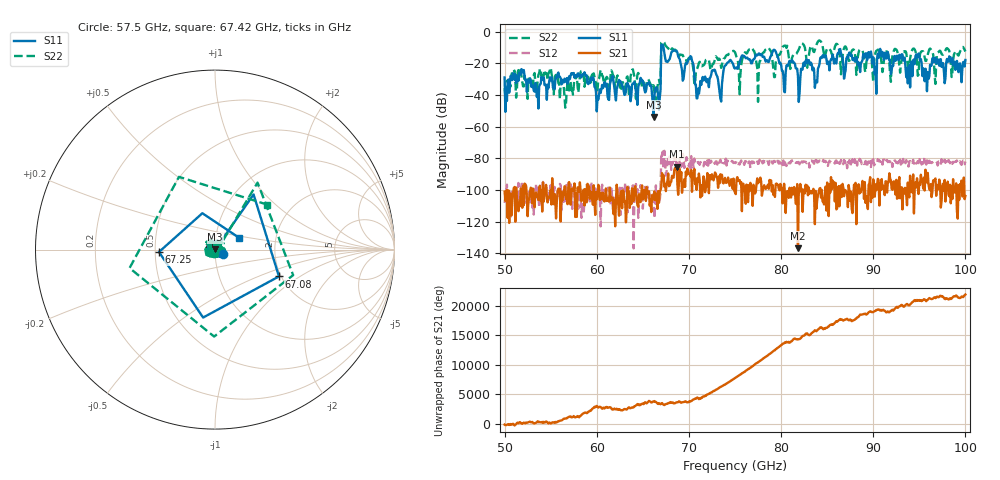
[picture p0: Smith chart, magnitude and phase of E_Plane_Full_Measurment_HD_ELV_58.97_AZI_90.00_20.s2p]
! 11/26/2026 3:24:49 PM
! C:\ANRITSUVNA\TEMP\TEMP.S2P
! CHANNEL.1
! TR.MEASUREMENT
! RAW.DATA
# HZ S RI R 50.0
! FREQ.HZ  S11RE  S11IM  S21RE  S21IM  S12RE  S12IM  S22RE  S22IM
!; PortSelection: Port_12
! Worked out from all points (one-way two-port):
!   601 points, 50 GHz to 100 GHz, reference 50 ohm
!   highest |S21| = -85.30 dB at 68.67 GHz (marker M1); lowest = -137.0 dB at 81.83 GHz (marker M2)
!   lowest |S11| = -53.9 dB at 66.17 GHz (marker M3), VSWR 1.00, Z = 50.1 + j0.145 ohm
!   |S11| at or under -10 dB: start of sweep to 67 GHz; 67.25 GHz to end of sweep
!   |S22| runs from -48.1 to -5.6 dB; largest |S21 - S12| = 0.00018
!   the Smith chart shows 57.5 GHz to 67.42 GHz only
!   S11 on the Smith chart (normalised r, x): 57.5 GHz: 1.09, -0.05; 67.08 GHz: 1.95, -0.68; 67.25 GHz: 0.52, -0.02; 67.42 GHz: 1.29, +0.18
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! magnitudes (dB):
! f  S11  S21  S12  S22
! 50 GHz  -29.0  -101.1  -108.2  -35.8
! 51.67 GHz  -26.3  -110.3  -107.8  -23.3
! 57.5 GHz  -26.2  -100.1  -99.8  -34.7
! 58.42 GHz  -27.2  -105.1  -107.7  -24.7
! 60.17 GHz  -42.9  -96.8  -104.9  -30.4
! 66.17 GHz  -53.9  -106.2  -101.2  -34.0
! 66.67 GHz  -41.5  -100.8  -103.3  -31.7
! 67.08 GHz  -8.3  -89.4  -78.3  -6.8
! 67.25 GHz  -10.1  -90.9  -86.8  -6.2
! 67.42 GHz  -16.6  -96.5  -82.4  -8.3
! 68.67 GHz  -12.1  -85.3  -83.9  -13.4
! 70.25 GHz  -16.0  -87.4  -78.7  -18.8
! 70.92 GHz  -42.1  -92.5  -81.6  -23.1
! 75 GHz  -23.3  -101.6  -83.1  -13.0
! 79.25 GHz  -11.5  -100.6  -81.7  -28.8
! 81.83 GHz  -28.4  -137.0  -82.4  -12.3
! 83.42 GHz  -24.5  -101.3  -82.3  -10.8
! 91.67 GHz  -16.7  -95.2  -82.0  -15.2
! 93.75 GHz  -32.7  -95.4  -82.7  -21.3
! 94.83 GHz  -15.0  -97.7  -81.8  -27.9
! 95.83 GHz  -37.7  -95.4  -81.4  -16.5
! 100 GHz  -17.9  -103.9  -82.1  -12.6
